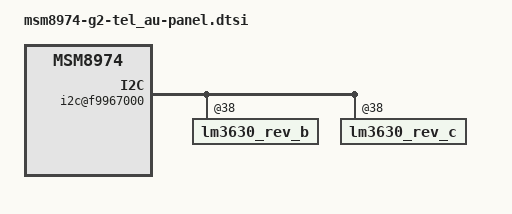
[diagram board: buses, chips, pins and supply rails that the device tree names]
/* Copyright (c) 2012, Code Aurora Forum. All rights reserved.
 *
 * This program is free software; you can redistribute it and/or modify
 * it under the terms of the GNU General Public License version 2 and
 * only version 2 as published by the Free Software Foundation.
 *
 * This program is distributed in the hope that it will be useful,
 * but WITHOUT ANY WARRANTY; without even the implied warranty of
 * MERCHANTABILITY or FITNESS FOR A PARTICULAR PURPOSE.  See the
 * GNU General Public License for more details.
 */

&soc {

	qcom,mdss_dsi_lgit_video {
		status = "disable";
		qcom,cont-splash-enabled;
	};

	qcom,mdss_dsi_lgit_cmd {
		status = "disable";
	};

	qcom,mdss_dsi_jdi_cmd {
		status = "disable";
	};

	qcom,mdss_dsi_jdi_video {
		status = "disable";
	};

	i2c@f9967000 {
		lm3630_rev_b@38 {
			status = "ok";
			lm3630,enable_pwm = <1>;
			revision = "...rev_b";
		};

		lm3630_rev_c@38 {
			status = "ok";
			lm3630,enable_pwm = <1>;
			revision = "rev_c...";
		};
	};
};
